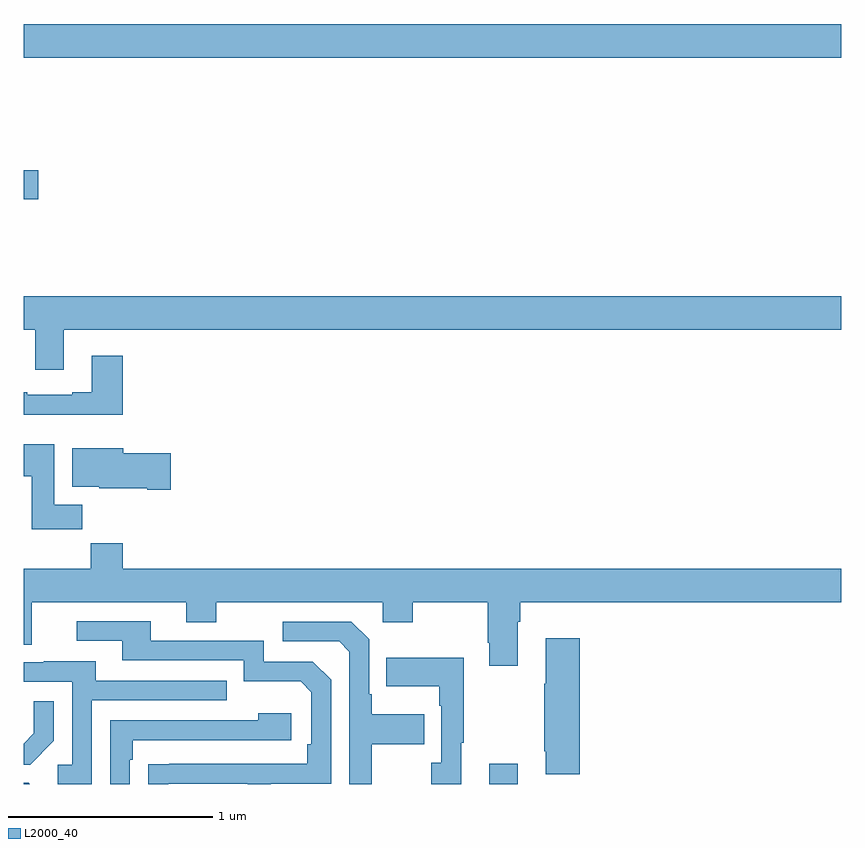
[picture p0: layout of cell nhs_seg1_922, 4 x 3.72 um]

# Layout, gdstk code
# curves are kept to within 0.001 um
import gdstk
lib = gdstk.Library(unit=1e-6, precision=1e-09)
def R(c, l, rs):  # rectangles x0, y0, x1, y1
    for r in rs: c.add(gdstk.rectangle(r[:2], r[2:], *l))
def P(c, l, *ps):  # polygons
    for p in ps: c.add(gdstk.Polygon(p, *l))
L2000_40 = (2000, 40)

nhs_seg1_922 = lib.new_cell('nhs_seg1_922')
R(nhs_seg1_922, L2000_40, [(163.277,528.199,163.417,528.298), (161,531.058,161.071,531.2), (161,531.752,165,531.916)])
P(nhs_seg1_922, L2000_40, [(161.197,530.42),(165,530.42),(165,530.584),(161,530.584),(161,530.42),(161.057,530.42),(161.057,530.226),(161.197,530.226)],
  [(161.486,530.293),(161.333,530.293),(161.333,530.116),(161.237,530.116),(161.237,530.103),(161.017,530.103),(161.017,530.116),(161,530.116),(161,530.006),(161.486,530.006)],
  [(161.288,529.564),(161.149,529.564),(161.149,529.861),(161,529.861),(161,529.705),(161.039,529.705),(161.039,529.446),(161.288,529.446)],
  [(161.719,529.817),(161.488,529.817),(161.488,529.84),(161.237,529.84),(161.237,529.652),(161.37,529.652),(161.37,529.646),(161.606,529.646),(161.606,529.639),(161.719,529.639)],
  [(163.417,528.992),(163.43,528.992),(163.43,529.088),(165,529.088),(165,529.252),(161.486,529.252),(161.486,529.376),(161.329,529.376),(161.329,529.252),(161,529.252),(161,528.88),(161.041,528.88),(161.041,529.088),(161.795,529.088),(161.795,528.989),(161.943,528.989),(161.943,529.088),(162.756,529.088),(162.756,528.989),(162.903,528.989),(162.903,529.088),(163.27,529.088),(163.27,528.889),(163.277,528.889),(163.277,528.777),(163.417,528.777)],
  [(161.707,528.201),(162.097,528.201),(162.097,528.199),(162.209,528.199),(162.209,528.201),(162.504,528.201),(162.504,528.708),(162.414,528.798),(162.174,528.798),(162.174,528.9),(161.623,528.9),(161.623,528.996),(161.259,528.996),(161.259,528.9),(161.483,528.9),(161.483,528.804),(162.078,528.804),(162.078,528.701),(162.355,528.701),(162.408,528.648),(162.408,528.394),(162.388,528.394),(162.388,528.297),(161.611,528.296),(161.611,528.199),(161.707,528.199)],
  [(162.703,528.394),(162.959,528.394),(162.959,528.541),(162.703,528.541),(162.703,528.637),(162.69,528.637),(162.69,528.906),(162.603,528.993),(162.267,528.993),(162.267,528.897),(162.543,528.897),(162.594,528.846),(162.594,528.199),(162.703,528.199)],
  [(163.721,528.913),(163.553,528.913),(163.553,528.689),(163.546,528.689),(163.546,528.358),(163.553,528.358),(163.553,528.246),(163.721,528.246)],
  [(163.141,528.401),(163.153,528.401),(163.153,528.817),(162.775,528.817),(162.775,528.677),(163.032,528.677),(163.032,528.581),(163.044,528.581),(163.044,528.302),(162.993,528.302),(162.993,528.199),(163.141,528.199)],
  [(161.334,528.609),(161.993,528.609),(161.993,528.705),(161.353,528.705),(161.353,528.799),(161.099,528.799),(161.099,528.795),(161,528.795),(161,528.699),(161.238,528.699),(161.238,528.294),(161.166,528.294),(161.166,528.199),(161.334,528.199)],
  [(161.148,528.41),(161.148,528.604),(161.051,528.604),(161.051,528.447),(161,528.396),(161,528.294),(161.032,528.294)],
  [(161.52,528.317),(161.533,528.317),(161.533,528.414),(162.31,528.414),(162.31,528.544),(162.149,528.544),(162.149,528.51),(161.424,528.51),(161.424,528.199),(161.52,528.199)],
  [(161.025,528.204),(161,528.204),(161,528.199),(161.03,528.199)])

lib.write_gds('nhs_seg1_922.gds')
